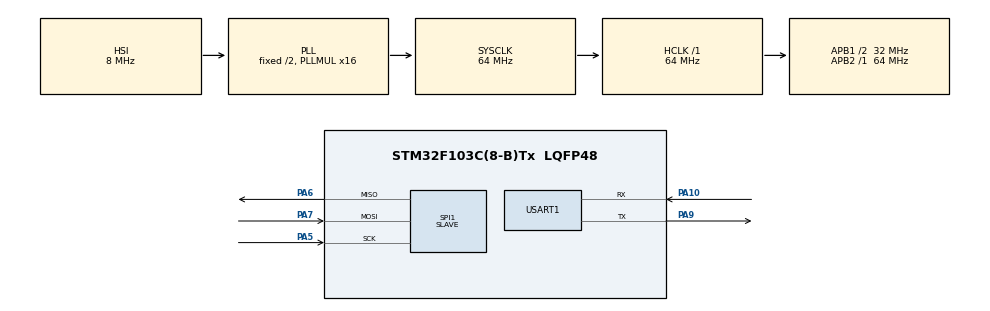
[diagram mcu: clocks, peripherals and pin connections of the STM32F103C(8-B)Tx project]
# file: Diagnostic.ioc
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Dma.Request0=USART1_RX
Dma.USART1_RX.0.Direction=DMA_PERIPH_TO_MEMORY
Dma.USART1_RX.0.Instance=DMA1_Channel5
Dma.USART1_RX.0.MemDataAlignment=DMA_MDATAALIGN_BYTE
Dma.USART1_RX.0.MemInc=DMA_MINC_ENABLE
Dma.USART1_RX.0.Mode=DMA_NORMAL
Dma.USART1_RX.0.PeriphDataAlignment=DMA_PDATAALIGN_BYTE
Dma.USART1_RX.0.PeriphInc=DMA_PINC_DISABLE
Dma.USART1_RX.0.Priority=DMA_PRIORITY_LOW
FREERTOS.Tasks01=defaultTask,0,128,StartDefaultTask,Default,NULL,Dynamic,NULL,NULL;TASK1,2,128,Main_Master,Default,NULL,Dynamic,NULL,NULL;TASK2,-3,128,Main_DEM,Default,NULL,Dynamic,NULL,NULL
FREERTOS.configUSE_NEWLIB_REENTRANT=1
Mcu.Family=STM32F1
Mcu.Name=STM32F103C(8-B)Tx
Mcu.Package=LQFP48
NVIC.DMA1_Channel5_IRQn=true\:5\:0\:false\:false\:true\:true\:false\:true\:true
NVIC.PriorityGroup=NVIC_PRIORITYGROUP_4
NVIC.SPI1_IRQn=true\:5\:0\:false\:false\:true\:true\:true\:true\:true
NVIC.TIM1_UP_IRQn=true\:15\:0\:false\:false\:true\:false\:false\:true\:true
NVIC.TimeBase=TIM1_UP_IRQn
NVIC.TimeBaseIP=TIM1
NVIC.USART1_IRQn=true\:5\:0\:false\:false\:true\:true\:true\:true\:true
PA10.Mode=Asynchronous
PA10.Signal=USART1_RX
PA13.Mode=Serial_Wire
PA13.Signal=SYS_JTMS-SWDIO
PA14.Mode=Serial_Wire
PA14.Signal=SYS_JTCK-SWCLK
PA5.Mode=Full_Duplex_Slave
PA5.Signal=SPI1_SCK
PA6.Mode=Full_Duplex_Slave
PA6.Signal=SPI1_MISO
PA7.Mode=Full_Duplex_Slave
PA7.Signal=SPI1_MOSI
PA9.Mode=Asynchronous
PA9.Signal=USART1_TX
PD0-OSC_IN.Mode=HSE-External-Oscillator
PD0-OSC_IN.Signal=RCC_OSC_IN
PD1-OSC_OUT.Mode=HSE-External-Oscillator
PD1-OSC_OUT.Signal=RCC_OSC_OUT
ProjectManager.HeapSize=0x200
ProjectManager.StackSize=0x400
ProjectManager.TargetToolchain=STM32CubeIDE
RCC.AHBFreq_Value=64000000
RCC.APB1CLKDivider=RCC_HCLK_DIV2
RCC.APB1Freq_Value=32000000
RCC.APB1TimFreq_Value=64000000
RCC.APB2Freq_Value=64000000
RCC.APB2TimFreq_Value=64000000
RCC.HCLKFreq_Value=64000000
RCC.PLLMUL=RCC_PLL_MUL16
RCC.SYSCLKFreq_VALUE=64000000
RCC.SYSCLKSource=RCC_SYSCLKSOURCE_PLLCLK
RCC.USBFreq_Value=64000000
SPI1.DataSize=SPI_DATASIZE_16BIT
SPI1.Direction=SPI_DIRECTION_2LINES
SPI1.Mode=SPI_MODE_SLAVE
SPI1.VirtualType=VM_SLAVE
USART1.VirtualMode=VM_ASYNC
VP_CRC_VS_CRC.Mode=CRC_Activate
VP_FREERTOS_VS_CMSIS_V1.Mode=CMSIS_V1
VP_SYS_VS_tim1.Mode=TIM1
board=custom

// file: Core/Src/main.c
/* USER CODE BEGIN Header */
/**
  ******************************************************************************
  * @file           : main.c
  * @brief          : Main program body
  ******************************************************************************
  * @attention
  *
  * Copyright (c) 2024 STMicroelectronics.
  * All rights reserved.
  *
  * This software is licensed under terms that can be found in the LICENSE file
  * in the root directory of this software component.
  * If no LICENSE file comes with this software, it is provided AS-IS.
  *
  ******************************************************************************
  */
/* USER CODE END Header */
#include "main.h"
#include "cmsis_os.h"
#include "Master_Bus.h"
#include "DEM.h"
#include "SERIAL_COM.h"
#include "COM_H.h"
#include "DCM.h"

CRC_HandleTypeDef hcrc;

SPI_HandleTypeDef hspi1;

UART_HandleTypeDef huart1;
DMA_HandleTypeDef hdma_usart1_rx;

osThreadId defaultTaskHandle;
osThreadId TASK1Handle;
osThreadId TASK2Handle;

void SystemClock_Config(void);
static void MX_GPIO_Init(void);
static void MX_DMA_Init(void);
static void MX_USART1_UART_Init(void);
static void MX_SPI1_Init(void);
static void MX_CRC_Init(void);
void StartDefaultTask(void const * argument);
void Main_Master(void const * argument);
void Main_DEM(void const * argument);

/* USER CODE BEGIN 0 */

/*Recieve data from uart*/
#define RX_BUFFER_SIZE 40
uint8_t RXBUFFER[RX_BUFFER_SIZE];

/*Recieve data from spi*/
uint16_t  pRxData;

/* USER CODE END 0 */

int main(void)
{

  /* MCU Configuration--------------------------------------------------------*/

  /* Reset of all peripherals, Initializes the Flash interface and the Systick. */
  HAL_Init();

  /* Configure the system clock */
  SystemClock_Config();

  /* Initialize all configured peripherals */
  MX_GPIO_Init();
  MX_DMA_Init();
  MX_USART1_UART_Init();
  MX_SPI1_Init();
  MX_CRC_Init();
  /* USER CODE BEGIN 2 */
  HAL_UARTEx_ReceiveToIdle_DMA(&huart1, RXBUFFER, RX_BUFFER_SIZE);
  __HAL_DMA_DISABLE_IT(&hdma_usart1_rx,DMA_IT_HT);
  HAL_SPI_Receive_IT(&hspi1, &pRxData, 2);
  /* USER CODE END 2 */

  /* Create the thread(s) */
  /* definition and creation of defaultTask */
  osThreadDef(defaultTask, StartDefaultTask, osPriorityNormal, 0, 128);
  defaultTaskHandle = osThreadCreate(osThread(defaultTask), NULL);

  /* definition and creation of TASK1 */
  osThreadDef(TASK1, Main_Master, osPriorityHigh, 0, 128);
  TASK1Handle = osThreadCreate(osThread(TASK1), NULL);

  /* definition and creation of TASK2 */
  osThreadDef(TASK2, Main_DEM, osPriorityIdle, 0, 128);
  TASK2Handle = osThreadCreate(osThread(TASK2), NULL);

  /* Start scheduler */
  osKernelStart();

  /* We should never get here as control is now taken by the scheduler */
  /* Infinite loop */
  /* USER CODE BEGIN WHILE */
   /* USER CODE BEGIN WHILE */

  /* Infinite loop */
  /* USER CODE BEGIN WHILE */
  while (1)
  {
    /* USER CODE END WHILE */
  }
}

void SystemClock_Config(void)
{
  RCC_OscInitTypeDef RCC_OscInitStruct = {0};
  RCC_ClkInitTypeDef RCC_ClkInitStruct = {0};

  /** Initializes the RCC Oscillators according to the specified parameters
  * in the RCC_OscInitTypeDef structure.
  */
  RCC_OscInitStruct.OscillatorType = RCC_OSCILLATORTYPE_HSI;
  RCC_OscInitStruct.HSIState = RCC_HSI_ON;
  RCC_OscInitStruct.HSICalibrationValue = RCC_HSICALIBRATION_DEFAULT;
  RCC_OscInitStruct.PLL.PLLState = RCC_PLL_ON;
  RCC_OscInitStruct.PLL.PLLSource = RCC_PLLSOURCE_HSI_DIV2;
  RCC_OscInitStruct.PLL.PLLMUL = RCC_PLL_MUL16;
  if (HAL_RCC_OscConfig(&RCC_OscInitStruct) != HAL_OK)
  {
    Error_Handler();
  }

  /** Initializes the CPU, AHB and APB buses clocks
  */
  RCC_ClkInitStruct.ClockType = RCC_CLOCKTYPE_HCLK|RCC_CLOCKTYPE_SYSCLK
                              |RCC_CLOCKTYPE_PCLK1|RCC_CLOCKTYPE_PCLK2;
  RCC_ClkInitStruct.SYSCLKSource = RCC_SYSCLKSOURCE_PLLCLK;
  RCC_ClkInitStruct.AHBCLKDivider = RCC_SYSCLK_DIV1;
  RCC_ClkInitStruct.APB1CLKDivider = RCC_HCLK_DIV2;
  RCC_ClkInitStruct.APB2CLKDivider = RCC_HCLK_DIV1;

  if (HAL_RCC_ClockConfig(&RCC_ClkInitStruct, FLASH_LATENCY_2) != HAL_OK)
  {
    Error_Handler();
  }
}

static void MX_CRC_Init(void)
{

  hcrc.Instance = CRC;
  if (HAL_CRC_Init(&hcrc) != HAL_OK)
  {
    Error_Handler();
  }

}

static void MX_SPI1_Init(void)
{

  /* SPI1 parameter configuration*/
  hspi1.Instance = SPI1;
  hspi1.Init.Mode = SPI_MODE_SLAVE;
  hspi1.Init.Direction = SPI_DIRECTION_2LINES;
  hspi1.Init.DataSize = SPI_DATASIZE_16BIT;
  hspi1.Init.CLKPolarity = SPI_POLARITY_LOW;
  hspi1.Init.CLKPhase = SPI_PHASE_1EDGE;
  hspi1.Init.NSS = SPI_NSS_SOFT;
  hspi1.Init.FirstBit = SPI_FIRSTBIT_MSB;
  hspi1.Init.TIMode = SPI_TIMODE_DISABLE;
  hspi1.Init.CRCCalculation = SPI_CRCCALCULATION_DISABLE;
  hspi1.Init.CRCPolynomial = 10;
  if (HAL_SPI_Init(&hspi1) != HAL_OK)
  {
    Error_Handler();
  }

}

static void MX_USART1_UART_Init(void)
{

  huart1.Instance = USART1;
  huart1.Init.BaudRate = 115200;
  huart1.Init.WordLength = UART_WORDLENGTH_8B;
  huart1.Init.StopBits = UART_STOPBITS_1;
  huart1.Init.Parity = UART_PARITY_NONE;
  huart1.Init.Mode = UART_MODE_TX_RX;
  huart1.Init.HwFlowCtl = UART_HWCONTROL_NONE;
  huart1.Init.OverSampling = UART_OVERSAMPLING_16;
  if (HAL_UART_Init(&huart1) != HAL_OK)
  {
    Error_Handler();
  }

}

static void MX_DMA_Init(void)
{

  /* DMA controller clock enable */
  __HAL_RCC_DMA1_CLK_ENABLE();

  /* DMA interrupt init */
  /* DMA1_Channel5_IRQn interrupt configuration */
  HAL_NVIC_SetPriority(DMA1_Channel5_IRQn, 5, 0);
  HAL_NVIC_EnableIRQ(DMA1_Channel5_IRQn);

}

static void MX_GPIO_Init(void)
{

  /* GPIO Ports Clock Enable */
  __HAL_RCC_GPIOD_CLK_ENABLE();
  __HAL_RCC_GPIOA_CLK_ENABLE();

}

/* USER CODE BEGIN 4 */
void HAL_UARTEx_RxEventCallback(UART_HandleTypeDef *huart, uint16_t Size)
{
  if(huart->Instance == USART1){
	  HAL_UARTEx_ReceiveToIdle_DMA(&huart1, RXBUFFER, RX_BUFFER_SIZE);
	  SERIAL_COM_Receive(RXBUFFER);
	  __HAL_DMA_DISABLE_IT(&hdma_usart1_rx,DMA_IT_HT);
  }
}

void HAL_SPI_RxCpltCallback(SPI_HandleTypeDef *hspi)
{
	HAL_COMH_Receive();
	HAL_SPI_Receive_IT(&hspi1, &pRxData, 2);
}
/* USER CODE END 4 */

void StartDefaultTask(void const * argument)
{
  for(;;)
  {
    osDelay(1);
  }
}

void Main_Master(void const * argument)
{
  /* USER CODE BEGIN Main_Master */
  /* Infinite loop */
  for(;;)
  {
	  HAL_MASTER_BUS_MainFunction();
	  osDelay(500);
  }
  /* USER CODE END Main_Master */
}

void Main_DEM(void const * argument)
{
  /* USER CODE BEGIN Main_DEM */
  /* Infinite loop */
  for(;;)
  {
	 HAL_DEM_MainFunction();
	 osDelay(500);
  }
  /* USER CODE END Main_DEM */
}

void HAL_TIM_PeriodElapsedCallback(TIM_HandleTypeDef *htim)
{
  if (htim->Instance == TIM1) {
    HAL_IncTick();
  }
}

void Error_Handler(void)
{
  __disable_irq();
  while (1)
  {
  }
}
